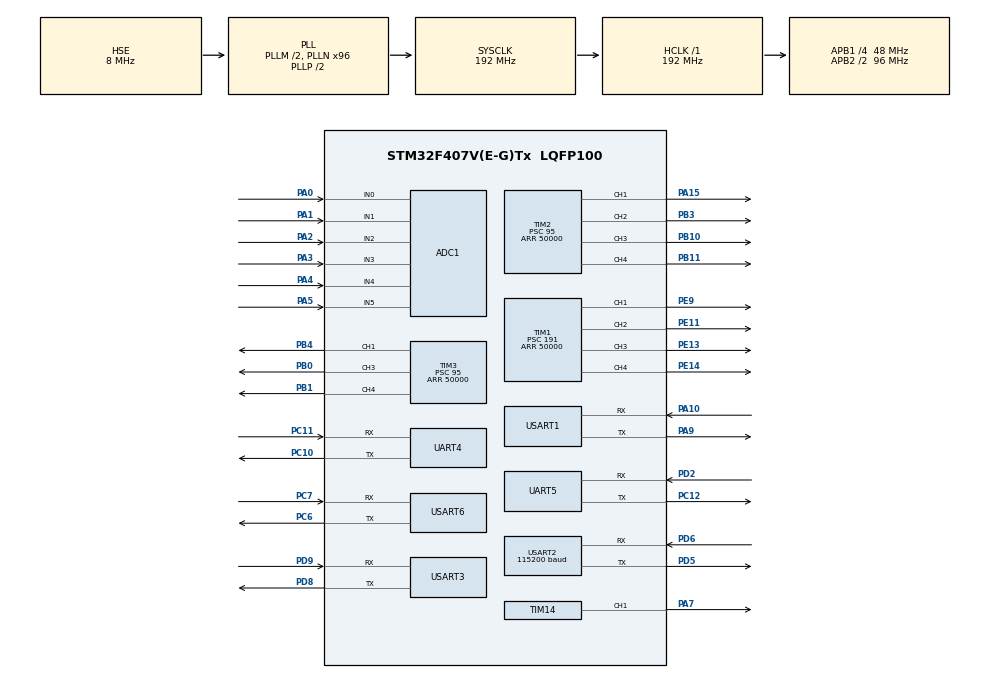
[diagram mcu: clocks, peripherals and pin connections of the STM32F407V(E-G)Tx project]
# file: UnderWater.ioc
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ADC1.Channel-0\#ChannelRegularConversion=ADC_CHANNEL_0
ADC1.Channel-1\#ChannelRegularConversion=ADC_CHANNEL_1
ADC1.Channel-2\#ChannelRegularConversion=ADC_CHANNEL_2
ADC1.Channel-3\#ChannelRegularConversion=ADC_CHANNEL_3
ADC1.Channel-4\#ChannelRegularConversion=ADC_CHANNEL_4
ADC1.Channel-5\#ChannelRegularConversion=ADC_CHANNEL_5
ADC1.ContinuousConvMode=ENABLE
ADC1.DMAContinuousRequests=ENABLE
ADC1.EOCSelection=ADC_EOC_SEQ_CONV
ADC1.NbrOfConversion=6
ADC1.NbrOfConversionFlag=1
ADC1.Rank-0\#ChannelRegularConversion=1
ADC1.Rank-1\#ChannelRegularConversion=2
ADC1.Rank-2\#ChannelRegularConversion=3
ADC1.Rank-3\#ChannelRegularConversion=4
ADC1.Rank-4\#ChannelRegularConversion=5
ADC1.Rank-5\#ChannelRegularConversion=6
ADC1.SamplingTime-0\#ChannelRegularConversion=ADC_SAMPLETIME_28CYCLES
ADC1.SamplingTime-1\#ChannelRegularConversion=ADC_SAMPLETIME_28CYCLES
ADC1.SamplingTime-2\#ChannelRegularConversion=ADC_SAMPLETIME_28CYCLES
ADC1.SamplingTime-3\#ChannelRegularConversion=ADC_SAMPLETIME_28CYCLES
ADC1.SamplingTime-4\#ChannelRegularConversion=ADC_SAMPLETIME_28CYCLES
ADC1.SamplingTime-5\#ChannelRegularConversion=ADC_SAMPLETIME_28CYCLES
ADC1.ScanConvMode=ENABLE
ADC1.master=1
Dma.ADC1.12.Direction=DMA_PERIPH_TO_MEMORY
Dma.ADC1.12.FIFOMode=DMA_FIFOMODE_DISABLE
Dma.ADC1.12.Instance=DMA2_Stream0
Dma.ADC1.12.MemDataAlignment=DMA_MDATAALIGN_WORD
Dma.ADC1.12.MemInc=DMA_MINC_ENABLE
Dma.ADC1.12.Mode=DMA_CIRCULAR
Dma.ADC1.12.PeriphDataAlignment=DMA_PDATAALIGN_WORD
Dma.ADC1.12.PeriphInc=DMA_PINC_DISABLE
Dma.ADC1.12.Priority=DMA_PRIORITY_LOW
Dma.Request0=UART4_RX
Dma.Request1=UART4_TX
Dma.Request10=USART6_RX
Dma.Request11=USART6_TX
Dma.Request12=ADC1
Dma.Request2=UART5_RX
Dma.Request3=UART5_TX
Dma.Request4=USART1_RX
Dma.Request5=USART1_TX
Dma.Request6=USART2_RX
Dma.Request7=USART2_TX
Dma.Request8=USART3_RX
Dma.Request9=USART3_TX
Dma.UART4_RX.0.Direction=DMA_PERIPH_TO_MEMORY
Dma.UART4_RX.0.FIFOMode=DMA_FIFOMODE_DISABLE
Dma.UART4_RX.0.Instance=DMA1_Stream2
Dma.UART4_RX.0.MemDataAlignment=DMA_MDATAALIGN_BYTE
Dma.UART4_RX.0.MemInc=DMA_MINC_ENABLE
Dma.UART4_RX.0.Mode=DMA_NORMAL
Dma.UART4_RX.0.PeriphDataAlignment=DMA_PDATAALIGN_BYTE
Dma.UART4_RX.0.PeriphInc=DMA_PINC_DISABLE
Dma.UART4_RX.0.Priority=DMA_PRIORITY_LOW
Dma.UART4_TX.1.Direction=DMA_MEMORY_TO_PERIPH
Dma.UART4_TX.1.FIFOMode=DMA_FIFOMODE_DISABLE
Dma.UART4_TX.1.Instance=DMA1_Stream4
Dma.UART4_TX.1.MemDataAlignment=DMA_MDATAALIGN_BYTE
Dma.UART4_TX.1.MemInc=DMA_MINC_ENABLE
Dma.UART4_TX.1.Mode=DMA_NORMAL
Dma.UART4_TX.1.PeriphDataAlignment=DMA_PDATAALIGN_BYTE
Dma.UART4_TX.1.PeriphInc=DMA_PINC_DISABLE
Dma.UART4_TX.1.Priority=DMA_PRIORITY_LOW
Dma.UART5_RX.2.Direction=DMA_PERIPH_TO_MEMORY
Dma.UART5_RX.2.FIFOMode=DMA_FIFOMODE_DISABLE
Dma.UART5_RX.2.Instance=DMA1_Stream0
Dma.UART5_RX.2.MemDataAlignment=DMA_MDATAALIGN_BYTE
Dma.UART5_RX.2.MemInc=DMA_MINC_ENABLE
Dma.UART5_RX.2.Mode=DMA_NORMAL
Dma.UART5_RX.2.PeriphDataAlignment=DMA_PDATAALIGN_BYTE
Dma.UART5_RX.2.PeriphInc=DMA_PINC_DISABLE
Dma.UART5_RX.2.Priority=DMA_PRIORITY_LOW
Dma.UART5_TX.3.Direction=DMA_MEMORY_TO_PERIPH
Dma.UART5_TX.3.FIFOMode=DMA_FIFOMODE_DISABLE
Dma.UART5_TX.3.Instance=DMA1_Stream7
Dma.UART5_TX.3.MemDataAlignment=DMA_MDATAALIGN_BYTE
Dma.UART5_TX.3.MemInc=DMA_MINC_ENABLE
Dma.UART5_TX.3.Mode=DMA_NORMAL
Dma.UART5_TX.3.PeriphDataAlignment=DMA_PDATAALIGN_BYTE
Dma.UART5_TX.3.PeriphInc=DMA_PINC_DISABLE
Dma.UART5_TX.3.Priority=DMA_PRIORITY_LOW
Dma.USART1_RX.4.Direction=DMA_PERIPH_TO_MEMORY
Dma.USART1_RX.4.FIFOMode=DMA_FIFOMODE_DISABLE
Dma.USART1_RX.4.Instance=DMA2_Stream2
Dma.USART1_RX.4.MemDataAlignment=DMA_MDATAALIGN_BYTE
Dma.USART1_RX.4.MemInc=DMA_MINC_ENABLE
Dma.USART1_RX.4.Mode=DMA_NORMAL
Dma.USART1_RX.4.PeriphDataAlignment=DMA_PDATAALIGN_BYTE
Dma.USART1_RX.4.PeriphInc=DMA_PINC_DISABLE
Dma.USART1_RX.4.Priority=DMA_PRIORITY_LOW
Dma.USART1_TX.5.Direction=DMA_MEMORY_TO_PERIPH
Dma.USART1_TX.5.FIFOMode=DMA_FIFOMODE_DISABLE
Dma.USART1_TX.5.Instance=DMA2_Stream7
Dma.USART1_TX.5.MemDataAlignment=DMA_MDATAALIGN_BYTE
Dma.USART1_TX.5.MemInc=DMA_MINC_ENABLE
Dma.USART1_TX.5.Mode=DMA_NORMAL
Dma.USART1_TX.5.PeriphDataAlignment=DMA_PDATAALIGN_BYTE
Dma.USART1_TX.5.PeriphInc=DMA_PINC_DISABLE
Dma.USART1_TX.5.Priority=DMA_PRIORITY_LOW
Dma.USART2_RX.6.Direction=DMA_PERIPH_TO_MEMORY
Dma.USART2_RX.6.FIFOMode=DMA_FIFOMODE_DISABLE
Dma.USART2_RX.6.Instance=DMA1_Stream5
Dma.USART2_RX.6.MemDataAlignment=DMA_MDATAALIGN_BYTE
Dma.USART2_RX.6.MemInc=DMA_MINC_ENABLE
Dma.USART2_RX.6.Mode=DMA_NORMAL
Dma.USART2_RX.6.PeriphDataAlignment=DMA_PDATAALIGN_BYTE
Dma.USART2_RX.6.PeriphInc=DMA_PINC_DISABLE
Dma.USART2_RX.6.Priority=DMA_PRIORITY_LOW
Dma.USART2_TX.7.Direction=DMA_MEMORY_TO_PERIPH
Dma.USART2_TX.7.FIFOMode=DMA_FIFOMODE_DISABLE
Dma.USART2_TX.7.Instance=DMA1_Stream6
Dma.USART2_TX.7.MemDataAlignment=DMA_MDATAALIGN_BYTE
Dma.USART2_TX.7.MemInc=DMA_MINC_ENABLE
Dma.USART2_TX.7.Mode=DMA_NORMAL
Dma.USART2_TX.7.PeriphDataAlignment=DMA_PDATAALIGN_BYTE
Dma.USART2_TX.7.PeriphInc=DMA_PINC_DISABLE
Dma.USART2_TX.7.Priority=DMA_PRIORITY_LOW
Dma.USART3_RX.8.Direction=DMA_PERIPH_TO_MEMORY
Dma.USART3_RX.8.FIFOMode=DMA_FIFOMODE_DISABLE
Dma.USART3_RX.8.Instance=DMA1_Stream1
Dma.USART3_RX.8.MemDataAlignment=DMA_MDATAALIGN_BYTE
Dma.USART3_RX.8.MemInc=DMA_MINC_ENABLE
Dma.USART3_RX.8.Mode=DMA_NORMAL
Dma.USART3_RX.8.PeriphDataAlignment=DMA_PDATAALIGN_BYTE
Dma.USART3_RX.8.PeriphInc=DMA_PINC_DISABLE
Dma.USART3_RX.8.Priority=DMA_PRIORITY_LOW
Dma.USART3_TX.9.Direction=DMA_MEMORY_TO_PERIPH
Dma.USART3_TX.9.FIFOMode=DMA_FIFOMODE_DISABLE
Dma.USART3_TX.9.Instance=DMA1_Stream3
Dma.USART3_TX.9.MemDataAlignment=DMA_MDATAALIGN_BYTE
Dma.USART3_TX.9.MemInc=DMA_MINC_ENABLE
Dma.USART3_TX.9.Mode=DMA_NORMAL
Dma.USART3_TX.9.PeriphDataAlignment=DMA_PDATAALIGN_BYTE
Dma.USART3_TX.9.PeriphInc=DMA_PINC_DISABLE
Dma.USART3_TX.9.Priority=DMA_PRIORITY_LOW
Dma.USART6_RX.10.Direction=DMA_PERIPH_TO_MEMORY
Dma.USART6_RX.10.FIFOMode=DMA_FIFOMODE_DISABLE
Dma.USART6_RX.10.Instance=DMA2_Stream1
Dma.USART6_RX.10.MemDataAlignment=DMA_MDATAALIGN_BYTE
Dma.USART6_RX.10.MemInc=DMA_MINC_ENABLE
Dma.USART6_RX.10.Mode=DMA_NORMAL
Dma.USART6_RX.10.PeriphDataAlignment=DMA_PDATAALIGN_BYTE
Dma.USART6_RX.10.PeriphInc=DMA_PINC_DISABLE
Dma.USART6_RX.10.Priority=DMA_PRIORITY_LOW
Dma.USART6_TX.11.Direction=DMA_MEMORY_TO_PERIPH
Dma.USART6_TX.11.FIFOMode=DMA_FIFOMODE_DISABLE
Dma.USART6_TX.11.Instance=DMA2_Stream6
Dma.USART6_TX.11.MemDataAlignment=DMA_MDATAALIGN_BYTE
Dma.USART6_TX.11.MemInc=DMA_MINC_ENABLE
Dma.USART6_TX.11.Mode=DMA_NORMAL
Dma.USART6_TX.11.PeriphDataAlignment=DMA_PDATAALIGN_BYTE
Dma.USART6_TX.11.PeriphInc=DMA_PINC_DISABLE
Dma.USART6_TX.11.Priority=DMA_PRIORITY_LOW
FREERTOS.Tasks01=ControlTask,2,128,CtrlTask,Default,NULL,Dynamic,NULL,NULL;DisplayTask,1,128,DisTask,Default,NULL,Dynamic,NULL,NULL;WaterDeepTask,0,128,WDTask,Default,NULL,Dynamic,NULL,NULL;AttitudeTask,0,128,AttTask,Default,NULL,Dynamic,NULL,NULL;EmptyTask,-3,128,EmpTask,Default,NULL,Dynamic,NULL,NULL;AutoMoveTask,0,128,AutoTask,Default,NULL,Dynamic,NULL,NULL;InitialTask,3,128,InitTask,Default,NULL,Dynamic,NULL,NULL;SwitcherTask,2,128,SWTask,Default,NULL,Dynamic,NULL,NULL
FREERTOS.configENABLE_FPU=1
FREERTOS.configLIBRARY_MAX_SYSCALL_INTERRUPT_PRIORITY=5
FREERTOS.configUSE_NEWLIB_REENTRANT=1
IWDG.Prescaler=IWDG_PRESCALER_32
IWDG.Reload=2047
Mcu.Family=STM32F4
Mcu.Name=STM32F407V(E-G)Tx
Mcu.Package=LQFP100
NVIC.DMA1_Stream0_IRQn=true\:5\:0\:false\:false\:true\:true\:false\:true
NVIC.DMA1_Stream1_IRQn=true\:5\:0\:false\:false\:true\:true\:false\:true
NVIC.DMA1_Stream2_IRQn=true\:5\:0\:false\:false\:true\:true\:false\:true
NVIC.DMA1_Stream3_IRQn=true\:5\:0\:false\:false\:true\:true\:false\:true
NVIC.DMA1_Stream4_IRQn=true\:5\:0\:false\:false\:true\:true\:false\:true
NVIC.DMA1_Stream5_IRQn=true\:5\:0\:false\:false\:true\:true\:false\:true
NVIC.DMA1_Stream6_IRQn=true\:5\:0\:false\:false\:true\:true\:false\:true
NVIC.DMA1_Stream7_IRQn=true\:5\:0\:false\:false\:true\:true\:false\:true
NVIC.DMA2_Stream0_IRQn=true\:5\:0\:false\:false\:true\:true\:false\:true
NVIC.DMA2_Stream1_IRQn=true\:5\:0\:false\:false\:true\:true\:false\:true
NVIC.DMA2_Stream2_IRQn=true\:5\:0\:false\:false\:true\:true\:false\:true
NVIC.DMA2_Stream6_IRQn=true\:5\:0\:false\:false\:true\:true\:false\:true
NVIC.DMA2_Stream7_IRQn=true\:5\:0\:false\:false\:true\:true\:false\:true
NVIC.PriorityGroup=NVIC_PRIORITYGROUP_4
NVIC.TIM1_UP_TIM10_IRQn=true\:0\:0\:false\:false\:true\:false\:false\:true
NVIC.TIM7_IRQn=true\:7\:0\:true\:false\:true\:true\:true\:true
NVIC.TimeBase=TIM1_UP_TIM10_IRQn
NVIC.TimeBaseIP=TIM10
NVIC.UART4_IRQn=true\:6\:0\:true\:false\:true\:true\:true\:true
NVIC.UART5_IRQn=true\:6\:0\:true\:false\:true\:true\:true\:true
NVIC.USART1_IRQn=true\:5\:0\:true\:false\:true\:true\:true\:true
NVIC.USART2_IRQn=true\:6\:0\:true\:false\:true\:true\:true\:true
NVIC.USART3_IRQn=true\:6\:0\:true\:false\:true\:true\:true\:true
NVIC.USART6_IRQn=true\:6\:0\:true\:false\:true\:true\:true\:true
PA0-WKUP.Signal=ADCx_IN0
PA1.Signal=ADCx_IN1
PA10.Mode=Asynchronous
PA10.Signal=USART1_RX
PA13.Mode=Serial_Wire
PA13.Signal=SYS_JTMS-SWDIO
PA14.Mode=Serial_Wire
PA14.Signal=SYS_JTCK-SWCLK
PA15.Signal=S_TIM2_CH1_ETR
PA2.Signal=ADCx_IN2
PA3.Signal=ADCx_IN3
PA4.Signal=ADCx_IN4
PA5.Signal=ADCx_IN5
PA7.Signal=S_TIM14_CH1
PA9.Mode=Asynchronous
PA9.Signal=USART1_TX
PB0.Signal=S_TIM3_CH3
PB1.Signal=S_TIM3_CH4
PB10.Signal=S_TIM2_CH3
PB11.Signal=S_TIM2_CH4
PB3.Signal=S_TIM2_CH2
PB4.Signal=S_TIM3_CH1
PC10.Mode=Asynchronous
PC10.Signal=UART4_TX
PC11.Mode=Asynchronous
PC11.Signal=UART4_RX
PC12.Mode=Asynchronous
PC12.Signal=UART5_TX
PC14-OSC32_IN.Mode=LSE-External-Oscillator
PC14-OSC32_IN.Signal=RCC_OSC32_IN
PC15-OSC32_OUT.Mode=LSE-External-Oscillator
PC15-OSC32_OUT.Signal=RCC_OSC32_OUT
PC6.Mode=Asynchronous
PC6.Signal=USART6_TX
PC7.Mode=Asynchronous
PC7.Signal=USART6_RX
PD2.Mode=Asynchronous
PD2.Signal=UART5_RX
PD5.Mode=Asynchronous
PD5.Signal=USART2_TX
PD6.Mode=Asynchronous
PD6.Signal=USART2_RX
PD8.Mode=Asynchronous
PD8.Signal=USART3_TX
PD9.Mode=Asynchronous
PD9.Signal=USART3_RX
PE11.Signal=S_TIM1_CH2
PE13.Signal=S_TIM1_CH3
PE14.Signal=S_TIM1_CH4
PE9.Signal=S_TIM1_CH1
PH0-OSC_IN.Mode=HSE-External-Oscillator
PH0-OSC_IN.Signal=RCC_OSC_IN
PH1-OSC_OUT.Mode=HSE-External-Oscillator
PH1-OSC_OUT.Signal=RCC_OSC_OUT
ProjectManager.HeapSize=0x200
ProjectManager.StackSize=0x400
ProjectManager.TargetToolchain=Other Toolchains (GPDSC)
RCC.48MHZClocksFreq_Value=96000000
RCC.AHBFreq_Value=192000000
RCC.APB1CLKDivider=RCC_HCLK_DIV4
RCC.APB1Freq_Value=48000000
RCC.APB1TimFreq_Value=96000000
RCC.APB2CLKDivider=RCC_HCLK_DIV2
RCC.APB2Freq_Value=96000000
RCC.APB2TimFreq_Value=192000000
RCC.CortexFreq_Value=192000000
RCC.HCLKFreq_Value=192000000
RCC.HSE_VALUE=8000000
RCC.HSI_VALUE=16000000
RCC.PLLM=2
RCC.PLLN=96
RCC.PLLSourceVirtual=RCC_PLLSOURCE_HSE
RCC.SYSCLKFreq_VALUE=192000000
RCC.SYSCLKSource=RCC_SYSCLKSOURCE_PLLCLK
RCC.VCOOutputFreq_Value=384000000
SH.ADCx_IN0.0=ADC1_IN0,IN0
SH.ADCx_IN1.0=ADC1_IN1,IN1
SH.ADCx_IN2.0=ADC1_IN2,IN2
SH.ADCx_IN3.0=ADC1_IN3,IN3
SH.ADCx_IN4.0=ADC1_IN4,IN4
SH.ADCx_IN5.0=ADC1_IN5,IN5
SH.S_TIM14_CH1.0=TIM14_CH1,PWM Generation1 CH1
SH.S_TIM1_CH1.0=TIM1_CH1,PWM Generation1 CH1
SH.S_TIM1_CH2.0=TIM1_CH2,PWM Generation2 CH2
SH.S_TIM1_CH3.0=TIM1_CH3,PWM Generation3 CH3
SH.S_TIM1_CH4.0=TIM1_CH4,PWM Generation4 CH4
SH.S_TIM2_CH1_ETR.0=TIM2_CH1,PWM Generation1 CH1
SH.S_TIM2_CH2.0=TIM2_CH2,PWM Generation2 CH2
SH.S_TIM2_CH3.0=TIM2_CH3,PWM Generation3 CH3
SH.S_TIM2_CH4.0=TIM2_CH4,PWM Generation4 CH4
SH.S_TIM3_CH1.0=TIM3_CH1,PWM Generation1 CH1
SH.S_TIM3_CH3.0=TIM3_CH3,PWM Generation3 CH3
SH.S_TIM3_CH4.0=TIM3_CH4,PWM Generation4 CH4
TIM1.Channel-PWM\ Generation1\ CH1=TIM_CHANNEL_1
TIM1.Channel-PWM\ Generation2\ CH2=TIM_CHANNEL_2
TIM1.Channel-PWM\ Generation3\ CH3=TIM_CHANNEL_3
TIM1.Channel-PWM\ Generation4\ CH4=TIM_CHANNEL_4
TIM1.Period=50000
TIM1.Prescaler=191
TIM1.Pulse-PWM\ Generation1\ CH1=1500
TIM1.Pulse-PWM\ Generation2\ CH2=1500
TIM1.Pulse-PWM\ Generation3\ CH3=1500
TIM1.Pulse-PWM\ Generation4\ CH4=1500
TIM14.Channel=TIM_CHANNEL_1
TIM14.Period=5000
TIM14.Prescaler=47
TIM2.Channel-PWM\ Generation1\ CH1=TIM_CHANNEL_1
TIM2.Channel-PWM\ Generation2\ CH2=TIM_CHANNEL_2
TIM2.Channel-PWM\ Generation3\ CH3=TIM_CHANNEL_3
TIM2.Channel-PWM\ Generation4\ CH4=TIM_CHANNEL_4
TIM2.Period=50000
TIM2.Prescaler=95
TIM2.Pulse-PWM\ Generation1\ CH1=1500
TIM2.Pulse-PWM\ Generation2\ CH2=1500
TIM2.Pulse-PWM\ Generation3\ CH3=1500
TIM2.Pulse-PWM\ Generation4\ CH4=1500
TIM3.Channel-PWM\ Generation1\ CH1=TIM_CHANNEL_1
TIM3.Channel-PWM\ Generation3\ CH3=TIM_CHANNEL_3
TIM3.Channel-PWM\ Generation4\ CH4=TIM_CHANNEL_4
TIM3.Period=50000
TIM3.Prescaler=95
TIM3.Pulse-PWM\ Generation1\ CH1=1500
TIM3.Pulse-PWM\ Generation3\ CH3=1500
TIM3.Pulse-PWM\ Generation4\ CH4=1500
TIM7.AutoReloadPreload=TIM_AUTORELOAD_PRELOAD_ENABLE
TIM7.Period=25000
TIM7.Prescaler=3839
UART4.VirtualMode=Asynchronous
UART5.VirtualMode=Asynchronous
USART1.VirtualMode=VM_ASYNC
USART2.BaudRate=115200
USART2.VirtualMode=VM_ASYNC
USART3.VirtualMode=VM_ASYNC
USART6.VirtualMode=VM_ASYNC
VP_FREERTOS_VS_CMSIS_V1.Mode=CMSIS_V1
VP_IWDG_VS_IWDG.Mode=IWDG_Activate
VP_SYS_VS_tim10.Mode=TIM10
VP_TIM14_VS_ClockSourceINT.Mode=Enable_Timer
VP_TIM1_VS_ClockSourceINT.Mode=Internal
VP_TIM2_VS_ClockSourceINT.Mode=Internal
VP_TIM3_VS_ClockSourceINT.Mode=Internal
VP_TIM7_VS_ClockSourceINT.Mode=Enable_Timer
board=custom

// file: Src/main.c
/* USER CODE BEGIN Header */
/* USER CODE END Header */

#include "main.h"
#include "cmsis_os.h"

/* USER CODE BEGIN Includes */
#include "Attitude.h"
#include "Setting.h"
#include "Auto.h"
#include "Display.h"
#include "BasicCtrl.h"
/* USER CODE END Includes */

/* USER CODE BEGIN PTD */
typedef unsigned char u8;
typedef unsigned short u16;
/* USER CODE END PTD */

ADC_HandleTypeDef hadc1;
DMA_HandleTypeDef hdma_adc1;

IWDG_HandleTypeDef hiwdg;

TIM_HandleTypeDef htim1;
TIM_HandleTypeDef htim2;
TIM_HandleTypeDef htim3;
TIM_HandleTypeDef htim7;
TIM_HandleTypeDef htim14;

UART_HandleTypeDef huart4;
UART_HandleTypeDef huart5;
UART_HandleTypeDef huart1;
UART_HandleTypeDef huart2;
UART_HandleTypeDef huart3;
UART_HandleTypeDef huart6;
DMA_HandleTypeDef hdma_uart4_rx;
DMA_HandleTypeDef hdma_uart4_tx;
DMA_HandleTypeDef hdma_uart5_rx;
DMA_HandleTypeDef hdma_uart5_tx;
DMA_HandleTypeDef hdma_usart1_rx;
DMA_HandleTypeDef hdma_usart1_tx;
DMA_HandleTypeDef hdma_usart2_rx;
DMA_HandleTypeDef hdma_usart2_tx;
DMA_HandleTypeDef hdma_usart3_rx;
DMA_HandleTypeDef hdma_usart3_tx;
DMA_HandleTypeDef hdma_usart6_rx;
DMA_HandleTypeDef hdma_usart6_tx;

osThreadId ControlTaskHandle;
osThreadId DisplayTaskHandle;
osThreadId WaterDeepTaskHandle;
osThreadId AttitudeTaskHandle;
osThreadId EmptyTaskHandle;
osThreadId AutoMoveTaskHandle;
osThreadId InitialTaskHandle;
osThreadId SwitcherTaskHandle;
/* USER CODE BEGIN PV */
//闁诡剚妲掔换妯肩矙鐎ｎ亝鍎欓柛鏂诲姀椤曨剙效閸屾稓鍨奸煫鍥ㄣ仦缂??
volatile u8 TaskBeingChangeFlag = 0;
//濞戞挾绮敮鑸垫交濞戞埃鏌ら柛姘煎灠婵晝鎷犻柨瀣勾闁哄秴娲ょ换鏃?鎷??
volatile u8 ControlTaskFlag = 0;
//闁哄嫬澧介妵姘交濞戞埃鏌ら柛姘煎灠婵晝鎷犻柨瀣勾闁哄秴娲ょ换鏃?鎷??
volatile u8 DisplayTaskFlag = 0;
//婵ê鐡ㄧ换浣肝??婵炴潙顑堢换妯肩矙鐎ｎ亝鍎欓柛鏂诲姀椤曨剙效閸屾稓鍨奸煫鍥ㄣ仦缂??
volatile u8 WaterDeepTaskFlag = 0;
//濞戞梹绻嗛柊杈╂嫚鐠囨彃绲块弶鈺傜〒閳诲ジ宕ラ姘楅悹鍥敱閻即寮介崶褏绠跺ù??
volatile u8 AttitudeTaskFlag = 0;
//闁煎浜滄慨鈺傛交閹邦剙袟閺夆晜绋撻埢濂稿触椤栨艾袟閻犲洭鏀遍惇浼村冀閸パ呯濞???
volatile u8 AutoMoveTaskFlag = 0;

//闁规亽鍔忕换姗?宕抽埉鎵篗闁告瑱绲介悾鐐▕?
volatile uint32_t* MoveCCR[8] = { &(TIM1->CCR1), &(TIM1->CCR2), &(TIM1->CCR3), &(TIM1->CCR4), &(TIM2->CCR1), &(TIM2->CCR2), &(TIM2->CCR3), &(TIM2->CCR4) };
//濞戞挻褰冭ぐ?1缂傚倹鎸搁悺?
u8 UART1RXCache[UART1RXLen];
//濞戞挻褰冭ぐ?3缂傚倹鎸搁悺?
u8 UART3RXCache[UART3RXLen];
//濞戞挻褰冭ぐ?4缂傚倹鎸搁悺?
u8 UART4RXCache[UART4RXLen];
//濞戞挻褰冭ぐ?4閻犲洩顕цぐ鍥箰閸ヮ剚瀚?
u8* UART4RXPosition = 0;
//缂侇垵宕电划娲触椤栨艾袟闁绘鍩??娴ｅ湱鍨奸煫鍥ㄣ仦缂??
volatile u8 SystemBegin = 0;

//婵☆垪鍓濈?氭瑥螞?婵炴潙顑囩槐锔????
uint32_t ADCCache[6] = { 0 };

//婵ê鐡ㄧ换渚?寮悧鍫濈ウ
u16 WaterDepth = 0;
//婵ê鐡ㄦ穱顖炲极閻楀牆绁?
u16 WaterTemperture = 0;
//婵ê鐡ㄧ换渚?骞愭径澶岀Т闁轰胶澧楀畵?
u8 WaterDepthNum[6];
//婵ê鐡ㄦ穱顖炲箰婢跺绉撮柡浣哄瀹??
u8 WaterTempertureNum[5];

//闁告梻濞??閻斿嘲顔婇柛妯煎枎椤劙寮悧鍫濈ウ
u16 AccNum[3] = { 0 };
//閻熸瑦甯??閻斿嘲顔婇柛妯煎枎椤劙寮悧鍫濈ウ
u16 RotNum[3] = { 0 };
//Roll Pitch Yaw
u16 EulNum[3] = { 0 };
//缁惧彞绀佹慨蹇曟喆閹烘垵鏂у┑顔碱儐閺嗙喖骞??
u16 MagNUM[3] = { 0 };
//濞戞梹绻嗛柊閬嶅级閹稿簼鍒婇幖杈剧畱鐢偅鎱ㄧ?ｎ偅娈堕柟??
u16 InsTemNum;

//婵炲柌鍕?欓悷娆愬笧缁劑寮稿鍕闁???
u16 EulResNum[3] = { 0 };

/* USER CODE END PV */

void SystemClock_Config(void);
static void MX_GPIO_Init(void);
static void MX_DMA_Init(void);
static void MX_ADC1_Init(void);
static void MX_IWDG_Init(void);
static void MX_TIM1_Init(void);
static void MX_TIM2_Init(void);
static void MX_TIM3_Init(void);
static void MX_UART4_Init(void);
static void MX_UART5_Init(void);
static void MX_USART1_UART_Init(void);
static void MX_USART2_UART_Init(void);
static void MX_USART3_UART_Init(void);
static void MX_USART6_UART_Init(void);
static void MX_TIM14_Init(void);
static void MX_TIM7_Init(void);
void CtrlTask(void const * argument);
void DisTask(void const * argument);
void WDTask(void const * argument);
void AttTask(void const * argument);
void EmpTask(void const * argument);
void AutoTask(void const * argument);
void InitTask(void const * argument);
void SWTask(void const * argument);

int main(void)
{

  /* MCU Configuration--------------------------------------------------------*/

  /* Reset of all peripherals, Initializes the Flash interface and the Systick. */
  HAL_Init();

  /* Configure the system clock */
  SystemClock_Config();

  /* Initialize all configured peripherals */
  MX_GPIO_Init();
  MX_DMA_Init();
  MX_ADC1_Init();
  MX_IWDG_Init();
  MX_TIM1_Init();
  MX_TIM2_Init();
  MX_TIM3_Init();
  MX_UART4_Init();
  MX_UART5_Init();
  MX_USART1_UART_Init();
  MX_USART2_UART_Init();
  MX_USART3_UART_Init();
  MX_USART6_UART_Init();
  MX_TIM14_Init();
  MX_TIM7_Init();
  /* USER CODE BEGIN 2 */

	BasicPoint(UART1RXCache);
	HAL_IWDG_Refresh(&hiwdg);

  /* USER CODE END 2 */

  /* Create the thread(s) */
  /* definition and creation of ControlTask */
  osThreadDef(ControlTask, CtrlTask, osPriorityHigh, 0, 128);
  ControlTaskHandle = osThreadCreate(osThread(ControlTask), NULL);

  /* definition and creation of DisplayTask */
  osThreadDef(DisplayTask, DisTask, osPriorityAboveNormal, 0, 128);
  DisplayTaskHandle = osThreadCreate(osThread(DisplayTask), NULL);

  /* definition and creation of WaterDeepTask */
  osThreadDef(WaterDeepTask, WDTask, osPriorityNormal, 0, 128);
  WaterDeepTaskHandle = osThreadCreate(osThread(WaterDeepTask), NULL);

  /* definition and creation of AttitudeTask */
  osThreadDef(AttitudeTask, AttTask, osPriorityNormal, 0, 128);
  AttitudeTaskHandle = osThreadCreate(osThread(AttitudeTask), NULL);

  /* definition and creation of EmptyTask */
  osThreadDef(EmptyTask, EmpTask, osPriorityIdle, 0, 128);
  EmptyTaskHandle = osThreadCreate(osThread(EmptyTask), NULL);

  /* definition and creation of AutoMoveTask */
  osThreadDef(AutoMoveTask, AutoTask, osPriorityNormal, 0, 128);
  AutoMoveTaskHandle = osThreadCreate(osThread(AutoMoveTask), NULL);

  /* definition and creation of InitialTask */
  osThreadDef(InitialTask, InitTask, osPriorityRealtime, 0, 128);
  InitialTaskHandle = osThreadCreate(osThread(InitialTask), NULL);

  /* definition and creation of SwitcherTask */
  osThreadDef(SwitcherTask, SWTask, osPriorityHigh, 0, 128);
  SwitcherTaskHandle = osThreadCreate(osThread(SwitcherTask), NULL);

  /* Start scheduler */
  osKernelStart();

  /* We should never get here as control is now taken by the scheduler */
  /* Infinite loop */

}

void SystemClock_Config(void)
{
  RCC_OscInitTypeDef RCC_OscInitStruct = {0};
  RCC_ClkInitTypeDef RCC_ClkInitStruct = {0};

  /** Configure the main internal regulator output voltage
  */
  __HAL_RCC_PWR_CLK_ENABLE();
  __HAL_PWR_VOLTAGESCALING_CONFIG(PWR_REGULATOR_VOLTAGE_SCALE1);
  /** Initializes the CPU, AHB and APB busses clocks
  */
  RCC_OscInitStruct.OscillatorType = RCC_OSCILLATORTYPE_LSI|RCC_OSCILLATORTYPE_HSE;
  RCC_OscInitStruct.HSEState = RCC_HSE_ON;
  RCC_OscInitStruct.LSIState = RCC_LSI_ON;
  RCC_OscInitStruct.PLL.PLLState = RCC_PLL_ON;
  RCC_OscInitStruct.PLL.PLLSource = RCC_PLLSOURCE_HSE;
  RCC_OscInitStruct.PLL.PLLM = 2;
  RCC_OscInitStruct.PLL.PLLN = 96;
  RCC_OscInitStruct.PLL.PLLP = RCC_PLLP_DIV2;
  RCC_OscInitStruct.PLL.PLLQ = 4;
  if (HAL_RCC_OscConfig(&RCC_OscInitStruct) != HAL_OK)
  {
    Error_Handler();
  }
  /** Initializes the CPU, AHB and APB busses clocks
  */
  RCC_ClkInitStruct.ClockType = RCC_CLOCKTYPE_HCLK|RCC_CLOCKTYPE_SYSCLK
                              |RCC_CLOCKTYPE_PCLK1|RCC_CLOCKTYPE_PCLK2;
  RCC_ClkInitStruct.SYSCLKSource = RCC_SYSCLKSOURCE_PLLCLK;
  RCC_ClkInitStruct.AHBCLKDivider = RCC_SYSCLK_DIV1;
  RCC_ClkInitStruct.APB1CLKDivider = RCC_HCLK_DIV4;
  RCC_ClkInitStruct.APB2CLKDivider = RCC_HCLK_DIV2;

  if (HAL_RCC_ClockConfig(&RCC_ClkInitStruct, FLASH_LATENCY_5) != HAL_OK)
  {
    Error_Handler();
  }
}

static void MX_ADC1_Init(void)
{

  ADC_ChannelConfTypeDef sConfig = {0};

  /** Configure the global features of the ADC (Clock, Resolution, Data Alignment and number of conversion)
  */
  hadc1.Instance = ADC1;
  hadc1.Init.ClockPrescaler = ADC_CLOCK_SYNC_PCLK_DIV4;
  hadc1.Init.Resolution = ADC_RESOLUTION_12B;
  hadc1.Init.ScanConvMode = ENABLE;
  hadc1.Init.ContinuousConvMode = ENABLE;
  hadc1.Init.DiscontinuousConvMode = DISABLE;
  hadc1.Init.ExternalTrigConvEdge = ADC_EXTERNALTRIGCONVEDGE_NONE;
  hadc1.Init.ExternalTrigConv = ADC_SOFTWARE_START;
  hadc1.Init.DataAlign = ADC_DATAALIGN_RIGHT;
  hadc1.Init.NbrOfConversion = 6;
  hadc1.Init.DMAContinuousRequests = ENABLE;
  hadc1.Init.EOCSelection = ADC_EOC_SEQ_CONV;
  if (HAL_ADC_Init(&hadc1) != HAL_OK)
  {
    Error_Handler();
  }
  /** Configure for the selected ADC regular channel its corresponding rank in the sequencer and its sample time.
  */
  sConfig.Channel = ADC_CHANNEL_0;
  sConfig.Rank = 1;
  sConfig.SamplingTime = ADC_SAMPLETIME_28CYCLES;
  if (HAL_ADC_ConfigChannel(&hadc1, &sConfig) != HAL_OK)
  {
    Error_Handler();
  }
  /** Configure for the selected ADC regular channel its corresponding rank in the sequencer and its sample time.
  */
  sConfig.Channel = ADC_CHANNEL_1;
  sConfig.Rank = 2;
  if (HAL_ADC_ConfigChannel(&hadc1, &sConfig) != HAL_OK)
  {
    Error_Handler();
  }
  /** Configure for the selected ADC regular channel its corresponding rank in the sequencer and its sample time.
  */
  sConfig.Channel = ADC_CHANNEL_2;
  sConfig.Rank = 3;
  if (HAL_ADC_ConfigChannel(&hadc1, &sConfig) != HAL_OK)
  {
    Error_Handler();
  }
  /** Configure for the selected ADC regular channel its corresponding rank in the sequencer and its sample time.
  */
  sConfig.Channel = ADC_CHANNEL_3;
  sConfig.Rank = 4;
  if (HAL_ADC_ConfigChannel(&hadc1, &sConfig) != HAL_OK)
  {
    Error_Handler();
  }
  /** Configure for the selected ADC regular channel its corresponding rank in the sequencer and its sample time.
  */
  sConfig.Channel = ADC_CHANNEL_4;
  sConfig.Rank = 5;
  if (HAL_ADC_ConfigChannel(&hadc1, &sConfig) != HAL_OK)
  {
    Error_Handler();
  }
  /** Configure for the selected ADC regular channel its corresponding rank in the sequencer and its sample time.
  */
  sConfig.Channel = ADC_CHANNEL_5;
  sConfig.Rank = 6;
  if (HAL_ADC_ConfigChannel(&hadc1, &sConfig) != HAL_OK)
  {
    Error_Handler();
  }

}

static void MX_IWDG_Init(void)
{

  hiwdg.Instance = IWDG;
  hiwdg.Init.Prescaler = IWDG_PRESCALER_32;
  hiwdg.Init.Reload = 2047;
  if (HAL_IWDG_Init(&hiwdg) != HAL_OK)
  {
    Error_Handler();
  }

}

static void MX_TIM1_Init(void)
{

  TIM_ClockConfigTypeDef sClockSourceConfig = {0};
  TIM_MasterConfigTypeDef sMasterConfig = {0};
  TIM_OC_InitTypeDef sConfigOC = {0};
  TIM_BreakDeadTimeConfigTypeDef sBreakDeadTimeConfig = {0};

  htim1.Instance = TIM1;
  htim1.Init.Prescaler = 191;
  htim1.Init.CounterMode = TIM_COUNTERMODE_UP;
  htim1.Init.Period = 50000;
  htim1.Init.ClockDivision = TIM_CLOCKDIVISION_DIV1;
  htim1.Init.RepetitionCounter = 0;
  htim1.Init.AutoReloadPreload = TIM_AUTORELOAD_PRELOAD_DISABLE;
  if (HAL_TIM_Base_Init(&htim1) != HAL_OK)
  {
    Error_Handler();
  }
  sClockSourceConfig.ClockSource = TIM_CLOCKSOURCE_INTERNAL;
  if (HAL_TIM_ConfigClockSource(&htim1, &sClockSourceConfig) != HAL_OK)
  {
    Error_Handler();
  }
  if (HAL_TIM_PWM_Init(&htim1) != HAL_OK)
  {
    Error_Handler();
  }
  sMasterConfig.MasterOutputTrigger = TIM_TRGO_RESET;
  sMasterConfig.MasterSlaveMode = TIM_MASTERSLAVEMODE_DISABLE;
  if (HAL_TIMEx_MasterConfigSynchronization(&htim1, &sMasterConfig) != HAL_OK)
  {
    Error_Handler();
  }
  sConfigOC.OCMode = TIM_OCMODE_PWM1;
  sConfigOC.Pulse = 1500;
  sConfigOC.OCPolarity = TIM_OCPOLARITY_HIGH;
  sConfigOC.OCNPolarity = TIM_OCNPOLARITY_HIGH;
  sConfigOC.OCFastMode = TIM_OCFAST_DISABLE;
  sConfigOC.OCIdleState = TIM_OCIDLESTATE_RESET;
  sConfigOC.OCNIdleState = TIM_OCNIDLESTATE_RESET;
  if (HAL_TIM_PWM_ConfigChannel(&htim1, &sConfigOC, TIM_CHANNEL_1) != HAL_OK)
  {
    Error_Handler();
  }
  if (HAL_TIM_PWM_ConfigChannel(&htim1, &sConfigOC, TIM_CHANNEL_2) != HAL_OK)
  {
    Error_Handler();
  }
  if (HAL_TIM_PWM_ConfigChannel(&htim1, &sConfigOC, TIM_CHANNEL_3) != HAL_OK)
  {
    Error_Handler();
  }
  if (HAL_TIM_PWM_ConfigChannel(&htim1, &sConfigOC, TIM_CHANNEL_4) != HAL_OK)
  {
    Error_Handler();
  }
  sBreakDeadTimeConfig.OffStateRunMode = TIM_OSSR_DISABLE;
  sBreakDeadTimeConfig.OffStateIDLEMode = TIM_OSSI_DISABLE;
  sBreakDeadTimeConfig.LockLevel = TIM_LOCKLEVEL_OFF;
  sBreakDeadTimeConfig.DeadTime = 0;
  sBreakDeadTimeConfig.BreakState = TIM_BREAK_DISABLE;
  sBreakDeadTimeConfig.BreakPolarity = TIM_BREAKPOLARITY_HIGH;
  sBreakDeadTimeConfig.AutomaticOutput = TIM_AUTOMATICOUTPUT_DISABLE;
  if (HAL_TIMEx_ConfigBreakDeadTime(&htim1, &sBreakDeadTimeConfig) != HAL_OK)
  {
    Error_Handler();
  }
  HAL_TIM_MspPostInit(&htim1);

}

static void MX_TIM2_Init(void)
{

  TIM_ClockConfigTypeDef sClockSourceConfig = {0};
  TIM_MasterConfigTypeDef sMasterConfig = {0};
  TIM_OC_InitTypeDef sConfigOC = {0};

  htim2.Instance = TIM2;
  htim2.Init.Prescaler = 95;
  htim2.Init.CounterMode = TIM_COUNTERMODE_UP;
  htim2.Init.Period = 50000;
  htim2.Init.ClockDivision = TIM_CLOCKDIVISION_DIV1;
  htim2.Init.AutoReloadPreload = TIM_AUTORELOAD_PRELOAD_DISABLE;
  if (HAL_TIM_Base_Init(&htim2) != HAL_OK)
  {
    Error_Handler();
  }
  sClockSourceConfig.ClockSource = TIM_CLOCKSOURCE_INTERNAL;
  if (HAL_TIM_ConfigClockSource(&htim2, &sClockSourceConfig) != HAL_OK)
  {
    Error_Handler();
  }
  if (HAL_TIM_PWM_Init(&htim2) != HAL_OK)
  {
    Error_Handler();
  }
  sMasterConfig.MasterOutputTrigger = TIM_TRGO_RESET;
  sMasterConfig.MasterSlaveMode = TIM_MASTERSLAVEMODE_DISABLE;
  if (HAL_TIMEx_MasterConfigSynchronization(&htim2, &sMasterConfig) != HAL_OK)
  {
    Error_Handler();
  }
  sConfigOC.OCMode = TIM_OCMODE_PWM1;
  sConfigOC.Pulse = 1500;
  sConfigOC.OCPolarity = TIM_OCPOLARITY_HIGH;
  sConfigOC.OCFastMode = TIM_OCFAST_DISABLE;
  if (HAL_TIM_PWM_ConfigChannel(&htim2, &sConfigOC, TIM_CHANNEL_1) != HAL_OK)
  {
    Error_Handler();
  }
  if (HAL_TIM_PWM_ConfigChannel(&htim2, &sConfigOC, TIM_CHANNEL_2) != HAL_OK)
  {
    Error_Handler();
  }
  if (HAL_TIM_PWM_ConfigChannel(&htim2, &sConfigOC, TIM_CHANNEL_3) != HAL_OK)
  {
    Error_Handler();
  }
  if (HAL_TIM_PWM_ConfigChannel(&htim2, &sConfigOC, TIM_CHANNEL_4) != HAL_OK)
  {
    Error_Handler();
  }
  HAL_TIM_MspPostInit(&htim2);

}

static void MX_TIM3_Init(void)
{

  TIM_ClockConfigTypeDef sClockSourceConfig = {0};
  TIM_MasterConfigTypeDef sMasterConfig = {0};
  TIM_OC_InitTypeDef sConfigOC = {0};

  htim3.Instance = TIM3;
  htim3.Init.Prescaler = 95;
  htim3.Init.CounterMode = TIM_COUNTERMODE_UP;
  htim3.Init.Period = 50000;
  htim3.Init.ClockDivision = TIM_CLOCKDIVISION_DIV1;
  htim3.Init.AutoReloadPreload = TIM_AUTORELOAD_PRELOAD_DISABLE;
  if (HAL_TIM_Base_Init(&htim3) != HAL_OK)
  {
    Error_Handler();
  }
  sClockSourceConfig.ClockSource = TIM_CLOCKSOURCE_INTERNAL;
  if (HAL_TIM_ConfigClockSource(&htim3, &sClockSourceConfig) != HAL_OK)
  {
    Error_Handler();
  }
  if (HAL_TIM_PWM_Init(&htim3) != HAL_OK)
  {
    Error_Handler();
  }
  sMasterConfig.MasterOutputTrigger = TIM_TRGO_RESET;
  sMasterConfig.MasterSlaveMode = TIM_MASTERSLAVEMODE_DISABLE;
  if (HAL_TIMEx_MasterConfigSynchronization(&htim3, &sMasterConfig) != HAL_OK)
  {
    Error_Handler();
  }
  sConfigOC.OCMode = TIM_OCMODE_PWM1;
  sConfigOC.Pulse = 1500;
  sConfigOC.OCPolarity = TIM_OCPOLARITY_HIGH;
  sConfigOC.OCFastMode = TIM_OCFAST_DISABLE;
  if (HAL_TIM_PWM_ConfigChannel(&htim3, &sConfigOC, TIM_CHANNEL_1) != HAL_OK)
  {
    Error_Handler();
  }
  if (HAL_TIM_PWM_ConfigChannel(&htim3, &sConfigOC, TIM_CHANNEL_3) != HAL_OK)
  {
    Error_Handler();
  }
  if (HAL_TIM_PWM_ConfigChannel(&htim3, &sConfigOC, TIM_CHANNEL_4) != HAL_OK)
  {
    Error_Handler();
  }
  HAL_TIM_MspPostInit(&htim3);

}

static void MX_TIM7_Init(void)
{

  TIM_MasterConfigTypeDef sMasterConfig = {0};

  htim7.Instance = TIM7;
  htim7.Init.Prescaler = 3839;
  htim7.Init.CounterMode = TIM_COUNTERMODE_UP;
  htim7.Init.Period = 25000;
  htim7.Init.AutoReloadPreload = TIM_AUTORELOAD_PRELOAD_ENABLE;
  if (HAL_TIM_Base_Init(&htim7) != HAL_OK)
  {
    Error_Handler();
  }
  sMasterConfig.MasterOutputTrigger = TIM_TRGO_RESET;
  sMasterConfig.MasterSlaveMode = TIM_MASTERSLAVEMODE_DISABLE;
  if (HAL_TIMEx_MasterConfigSynchronization(&htim7, &sMasterConfig) != HAL_OK)
  {
    Error_Handler();
  }

}

static void MX_TIM14_Init(void)
{

  TIM_OC_InitTypeDef sConfigOC = {0};

  htim14.Instance = TIM14;
  htim14.Init.Prescaler = 47;
  htim14.Init.CounterMode = TIM_COUNTERMODE_UP;
  htim14.Init.Period = 5000;
  htim14.Init.ClockDivision = TIM_CLOCKDIVISION_DIV1;
  htim14.Init.AutoReloadPreload = TIM_AUTORELOAD_PRELOAD_DISABLE;
  if (HAL_TIM_Base_Init(&htim14) != HAL_OK)
  {
    Error_Handler();
  }
  if (HAL_TIM_PWM_Init(&htim14) != HAL_OK)
  {
    Error_Handler();
  }
  sConfigOC.OCMode = TIM_OCMODE_PWM1;
  sConfigOC.Pulse = 0;
  sConfigOC.OCPolarity = TIM_OCPOLARITY_HIGH;
  sConfigOC.OCFastMode = TIM_OCFAST_DISABLE;
  if (HAL_TIM_PWM_ConfigChannel(&htim14, &sConfigOC, TIM_CHANNEL_1) != HAL_OK)
  {
    Error_Handler();
  }
  HAL_TIM_MspPostInit(&htim14);

}

static void MX_UART4_Init(void)
{

  huart4.Instance = UART4;
  huart4.Init.BaudRate = 115200;
  huart4.Init.WordLength = UART_WORDLENGTH_8B;
  huart4.Init.StopBits = UART_STOPBITS_1;
  huart4.Init.Parity = UART_PARITY_NONE;
  huart4.Init.Mode = UART_MODE_TX_RX;
  huart4.Init.HwFlowCtl = UART_HWCONTROL_NONE;
  huart4.Init.OverSampling = UART_OVERSAMPLING_16;
  if (HAL_UART_Init(&huart4) != HAL_OK)
  {
    Error_Handler();
  }

}

static void MX_UART5_Init(void)
{

  huart5.Instance = UART5;
  huart5.Init.BaudRate = 115200;
  huart5.Init.WordLength = UART_WORDLENGTH_8B;
  huart5.Init.StopBits = UART_STOPBITS_1;
  huart5.Init.Parity = UART_PARITY_NONE;
  huart5.Init.Mode = UART_MODE_TX_RX;
  huart5.Init.HwFlowCtl = UART_HWCONTROL_NONE;
  huart5.Init.OverSampling = UART_OVERSAMPLING_16;
  if (HAL_UART_Init(&huart5) != HAL_OK)
  {
    Error_Handler();
  }

}

static void MX_USART1_UART_Init(void)
{

  huart1.Instance = USART1;
  huart1.Init.BaudRate = 115200;
  huart1.Init.WordLength = UART_WORDLENGTH_8B;
  huart1.Init.StopBits = UART_STOPBITS_1;
  huart1.Init.Parity = UART_PARITY_NONE;
  huart1.Init.Mode = UART_MODE_TX_RX;
  huart1.Init.HwFlowCtl = UART_HWCONTROL_NONE;
  huart1.Init.OverSampling = UART_OVERSAMPLING_16;
  if (HAL_UART_Init(&huart1) != HAL_OK)
  {
    Error_Handler();
  }

}

static void MX_USART2_UART_Init(void)
{

  huart2.Instance = USART2;
  huart2.Init.BaudRate = 115200;
  huart2.Init.WordLength = UART_WORDLENGTH_8B;
  huart2.Init.StopBits = UART_STOPBITS_1;
  huart2.Init.Parity = UART_PARITY_NONE;
  huart2.Init.Mode = UART_MODE_TX_RX;
  huart2.Init.HwFlowCtl = UART_HWCONTROL_NONE;
  huart2.Init.OverSampling = UART_OVERSAMPLING_16;
  if (HAL_UART_Init(&huart2) != HAL_OK)
  {
    Error_Handler();
  }

}

static void MX_USART3_UART_Init(void)
{

  huart3.Instance = USART3;
  huart3.Init.BaudRate = 115200;
  huart3.Init.WordLength = UART_WORDLENGTH_8B;
  huart3.Init.StopBits = UART_STOPBITS_1;
  huart3.Init.Parity = UART_PARITY_NONE;
  huart3.Init.Mode = UART_MODE_TX_RX;
  huart3.Init.HwFlowCtl = UART_HWCONTROL_NONE;
  huart3.Init.OverSampling = UART_OVERSAMPLING_16;
  if (HAL_UART_Init(&huart3) != HAL_OK)
  {
    Error_Handler();
  }

}

static void MX_USART6_UART_Init(void)
{

  huart6.Instance = USART6;
  huart6.Init.BaudRate = 115200;
  huart6.Init.WordLength = UART_WORDLENGTH_8B;
  huart6.Init.StopBits = UART_STOPBITS_1;
  huart6.Init.Parity = UART_PARITY_NONE;
  huart6.Init.Mode = UART_MODE_TX_RX;
  huart6.Init.HwFlowCtl = UART_HWCONTROL_NONE;
  huart6.Init.OverSampling = UART_OVERSAMPLING_16;
  if (HAL_UART_Init(&huart6) != HAL_OK)
  {
    Error_Handler();
  }

}

static void MX_DMA_Init(void)
{

  /* DMA controller clock enable */
  __HAL_RCC_DMA1_CLK_ENABLE();
  __HAL_RCC_DMA2_CLK_ENABLE();

  /* DMA interrupt init */
  /* DMA1_Stream0_IRQn interrupt configuration */
  HAL_NVIC_SetPriority(DMA1_Stream0_IRQn, 5, 0);
  HAL_NVIC_EnableIRQ(DMA1_Stream0_IRQn);
  /* DMA1_Stream1_IRQn interrupt configuration */
  HAL_NVIC_SetPriority(DMA1_Stream1_IRQn, 5, 0);
  HAL_NVIC_EnableIRQ(DMA1_Stream1_IRQn);
  /* DMA1_Stream2_IRQn interrupt configuration */
  HAL_NVIC_SetPriority(DMA1_Stream2_IRQn, 5, 0);
  HAL_NVIC_EnableIRQ(DMA1_Stream2_IRQn);
  /* DMA1_Stream3_IRQn interrupt configuration */
  HAL_NVIC_SetPriority(DMA1_Stream3_IRQn, 5, 0);
  HAL_NVIC_EnableIRQ(DMA1_Stream3_IRQn);
  /* DMA1_Stream4_IRQn interrupt configuration */
  HAL_NVIC_SetPriority(DMA1_Stream4_IRQn, 5, 0);
  HAL_NVIC_EnableIRQ(DMA1_Stream4_IRQn);
  /* DMA1_Stream5_IRQn interrupt configuration */
  HAL_NVIC_SetPriority(DMA1_Stream5_IRQn, 5, 0);
  HAL_NVIC_EnableIRQ(DMA1_Stream5_IRQn);
  /* DMA1_Stream6_IRQn interrupt configuration */
  HAL_NVIC_SetPriority(DMA1_Stream6_IRQn, 5, 0);
  HAL_NVIC_EnableIRQ(DMA1_Stream6_IRQn);
  /* DMA1_Stream7_IRQn interrupt configuration */
  HAL_NVIC_SetPriority(DMA1_Stream7_IRQn, 5, 0);
  HAL_NVIC_EnableIRQ(DMA1_Stream7_IRQn);
  /* DMA2_Stream0_IRQn interrupt configuration */
  HAL_NVIC_SetPriority(DMA2_Stream0_IRQn, 5, 0);
  HAL_NVIC_EnableIRQ(DMA2_Stream0_IRQn);
  /* DMA2_Stream1_IRQn interrupt configuration */
  HAL_NVIC_SetPriority(DMA2_Stream1_IRQn, 5, 0);
  HAL_NVIC_EnableIRQ(DMA2_Stream1_IRQn);
  /* DMA2_Stream2_IRQn interrupt configuration */
  HAL_NVIC_SetPriority(DMA2_Stream2_IRQn, 5, 0);
  HAL_NVIC_EnableIRQ(DMA2_Stream2_IRQn);
  /* DMA2_Stream6_IRQn interrupt configuration */
  HAL_NVIC_SetPriority(DMA2_Stream6_IRQn, 5, 0);
  HAL_NVIC_EnableIRQ(DMA2_Stream6_IRQn);
  /* DMA2_Stream7_IRQn interrupt configuration */
  HAL_NVIC_SetPriority(DMA2_Stream7_IRQn, 5, 0);
  HAL_NVIC_EnableIRQ(DMA2_Stream7_IRQn);

}

static void MX_GPIO_Init(void)
{

  /* GPIO Ports Clock Enable */
  __HAL_RCC_GPIOC_CLK_ENABLE();
  __HAL_RCC_GPIOH_CLK_ENABLE();
  __HAL_RCC_GPIOA_CLK_ENABLE();
  __HAL_RCC_GPIOB_CLK_ENABLE();
  __HAL_RCC_GPIOE_CLK_ENABLE();
  __HAL_RCC_GPIOD_CLK_ENABLE();

}

void CtrlTask(void const * argument)
{
  /* USER CODE BEGIN 5 */
  /* Infinite loop */
  for(;;)
  {
	  u8 WarnNum = 0;
	  u8 PowerNum = ADCCache[0] / 4096 * 3.3 * 50;
	  HAL_IWDG_Refresh(&hiwdg);
	  BasicControl(MoveCCR, &TIM3->CCR1, &TIM3->CCR3, &TIM3->CCR4, &TIM14->CCR1);

#ifdef SWPassback
	  if (ADCCache[1] > 3100)
	  {
		  WarnNum += 1;
	  }
	  if (ADCCache[2] > 3100)
	  {
		  WarnNum += 2;
	  }
	  PassBack(&huart1, PowerNum, WarnNum, AccNum, RotNum, EulNum, MagNUM, InsTemNum, WaterTemperture, WaterDepth);
#endif // SWPassback

	  __HAL_UART_ENABLE_IT(&huart1, UART_IT_IDLE);
	  HAL_UART_Receive_DMA(&huart1, UART1RXCache, UART1RXLen);

	  vTaskSuspend(ControlTaskHandle);
    osDelay(5);
  }
  /* USER CODE END 5 */
}

void DisTask(void const * argument)
{
  /* USER CODE BEGIN DisTask */
	static u8 PowerNum=0;
  /* Infinite loop */
  for(;;)
  {
#ifdef HardWare_QL800

#ifdef SWPowerScanner
	  PowerNum = ADCCache[0] / 4096 * 3.3 * 50;
	  DisPower(&huart4, PowerNum);
	  if (ADCCache[1] > 3100)
	  {
		  DisWarning(&huart2, 0);
		  osDelay(5);
	  }
	  else
	  {
		  DisWarning(&huart2, 3);
		  osDelay(5);
	  }
	  HAL_IWDG_Refresh(&hiwdg);
	  if (ADCCache[2] > 3100)
	  {
		  DisWarning(&huart2, 1);
		  osDelay(5);
	  }
	  else
	  {
		  DisWarning(&huart2, 4);
		  osDelay(5);
	  }
	  HAL_IWDG_Refresh(&hiwdg);
#endif // SWPowerScanner

#ifdef SWWaterDeep
	  DisWaterDeep(&huart2, WaterDepthNum, WaterTempertureNum);
	  osDelay(5);
	  HAL_IWDG_Refresh(&hiwdg);
#endif // SWWaterDeep

#ifdef SWAttitudeSensor
	  DisAttitude(&huart2, EulResNum[0], EulResNum[1], EulResNum[2], InsTemNum);
	  osDelay(5);
	  HAL_IWDG_Refresh(&hiwdg);
#endif // SWAttitudeSensor

#endif // HardWare_QL800

#ifdef HardWare_QL504
#ifdef SWPowerScanner
	  PowerNum = ADCCache[0] * 0.040283203125;
	  static u8 WarningState[2] = { 0, 0 };
	  if (ADCCache[1] > 2500)
	  {
		  if (WarningState[0] == 0)
		  {
			  DisWarning_QL504(&huart2, hiwdg, 0);
			  WarningState[0] = 1;
		  }
	  }
	  else
	  {
		  if (WarningState[0] == 1)
		  {
			  DisWarning_QL504(&huart2, hiwdg, 3);
			  WarningState[0] = 0;
		  }
	  }
	  HAL_IWDG_Refresh(&hiwdg);
	  if (ADCCache[2] > 2500)
	  {
		  if (WarningState[1] == 0)
		  {
			  DisWarning_QL504(&huart2, hiwdg, 1);
			  WarningState[1] = 1;
		  }
	  }
	  else
	  {
		  if (WarningState[1]==1)
		  {
			  DisWarning_QL504(&huart2, hiwdg, 4);
			  WarningState[1] = 0;
		  }

	  }
	  HAL_IWDG_Refresh(&hiwdg);
#endif // SWPowerScanner

	  DisData_QL504(&huart2, hiwdg, WaterDepthNum, WaterTempertureNum, EulResNum[2], EulResNum[0], PowerNum);

#endif // HardWare_QL504

	  HAL_IWDG_Refresh(&hiwdg);
    osDelay(1);
  }
  /* USER CODE END DisTask */
}

void WDTask(void const * argument)
{
  /* USER CODE BEGIN WDTask */
  /* Infinite loop */
  for(;;)
  {
	  DeepAnalyze(UART4RXPosition, &WaterDepth, &WaterTemperture, WaterDepthNum, WaterTempertureNum);
	  HAL_UART_Receive_DMA(&huart4, UART4RXCache, UART4RXLen);
	  __HAL_UART_ENABLE_IT(&huart4, UART_IT_IDLE);
	  HAL_IWDG_Refresh(&hiwdg);
	  vTaskSuspend(WaterDeepTaskHandle);
    osDelay(1);
  }
  /* USER CODE END WDTask */
}

void AttTask(void const * argument)
{
  /* USER CODE BEGIN AttTask */
  /* Infinite loop */
  for(;;)
  {
	  AttitudeTake(EulResNum, AccNum, RotNum, EulNum, MagNUM, &InsTemNum);
	  HAL_UART_Receive_DMA(&huart3, UART3RXCache, UART3RXLen);
	  __HAL_UART_ENABLE_IT(&huart3, UART_IT_IDLE);

	  HAL_IWDG_Refresh(&hiwdg);
	  vTaskSuspend(AttitudeTaskHandle);
    osDelay(2);
  }
  /* USER CODE END AttTask */
}

void EmpTask(void const * argument)
{
  /* USER CODE BEGIN EmpTask */

  /* Infinite loop */
  for(;;)
  {
	  HAL_IWDG_Refresh(&hiwdg);
  }
  /* USER CODE END EmpTask */
}

void AutoTask(void const * argument)
{
  /* USER CODE BEGIN AutoTask */
  /* Infinite loop */
  for(;;)
  {
	  HAL_IWDG_Refresh(&hiwdg);
    osDelay(1);
  }
  /* USER CODE END AutoTask */
}

void InitTask(void const * argument)
{
  /* USER CODE BEGIN InitTask */
	vTaskSuspend(ControlTaskHandle);
	vTaskSuspend(AttitudeTaskHandle);
	vTaskSuspend(WaterDeepTaskHandle);
	vTaskSuspend(DisplayTaskHandle);
	vTaskSuspend(AutoMoveTaskHandle);
	HAL_UART_Receive_DMA(&huart1, UART1RXCache, UART1RXLen);
	__HAL_UART_ENABLE_IT(&huart1, UART_IT_IDLE);
	HAL_TIM_PWM_Start(&htim3, TIM_CHANNEL_3);
	HAL_TIM_PWM_Start(&htim14, TIM_CHANNEL_1);
	HAL_TIM_PWM_Start(&htim1, TIM_CHANNEL_1);
	HAL_TIM_PWM_Start(&htim1, TIM_CHANNEL_2);
	HAL_TIM_PWM_Start(&htim1, TIM_CHANNEL_3);
	HAL_TIM_PWM_Start(&htim1, TIM_CHANNEL_4);
	HAL_TIM_PWM_Start(&htim2, TIM_CHANNEL_1);
	HAL_TIM_PWM_Start(&htim2, TIM_CHANNEL_2);
	HAL_TIM_PWM_Start(&htim2, TIM_CHANNEL_3);
	HAL_TIM_PWM_Start(&htim2, TIM_CHANNEL_4);
	HAL_TIM_PWM_Start(&htim3, TIM_CHANNEL_1);
	HAL_TIM_PWM_Start(&htim3, TIM_CHANNEL_4);

	TIM1->CCR1 = 1500;
	TIM1->CCR2 = 1500;
	TIM1->CCR3 = 1500;
	TIM1->CCR4 = 1500;
	TIM2->CCR1 = 1500;
	TIM2->CCR2 = 1500;
	TIM2->CCR3 = 1500;
	TIM2->CCR4 = 1500;
	TIM3->CCR1 = 1500;
	TIM3->CCR3 = 1500;
	TIM3->CCR4 = 1500;
	TIM14->CCR1 = 0;
	HAL_TIM_Base_Start_IT(&htim7);
#ifdef Debug_Mode
	SystemBegin = 1;
#endif // SWDebug

	while (!SystemBegin)
	{
		HAL_IWDG_Refresh(&hiwdg);
	}

#ifdef SWDisplayWords
	vTaskResume(DisplayTaskHandle);
#endif // SWDisplayWords

#ifdef SWAutoMove
	vTaskResume(AutoMoveTaskHandle);
#endif // SWAutoMove

#ifdef SWPowerScanner

	HAL_ADC_Start_DMA(&hadc1, ADCCache, 6);

#endif // SWPowerScanner

#ifdef SWWaterDeep
	HAL_UART_Receive_DMA(&huart4, UART4RXCache, UART4RXLen);
	__HAL_UART_ENABLE_IT(&huart4, UART_IT_IDLE);
#endif // SWWaterDeep

#ifdef SWAttitudeSensor
	AttitudePoint(UART3RXCache);
	HAL_UART_Receive_DMA(&huart3, UART3RXCache, UART3RXLen);
	__HAL_UART_ENABLE_IT(&huart3, UART_IT_IDLE);
#endif // SWAttitudeSensor

	HAL_IWDG_Refresh(&hiwdg);
	vTaskSuspend(InitialTaskHandle);
  /* Infinite loop */
  for(;;)
  {
    osDelay(10000);
  }
  /* USER CODE END InitTask */
}

void SWTask(void const * argument)
{
  /* USER CODE BEGIN SWTask */
  /* Infinite loop */
  for(;;)
  {
	  HAL_IWDG_Refresh(&hiwdg);
	  if (TaskBeingChangeFlag)
	  {
		  TaskBeingChangeFlag = 0;

		  if (ControlTaskFlag)
		  {
			  ControlTaskFlag = 0;
			  vTaskResume(ControlTaskHandle);
			  osDelay(2);
		  }

#ifdef SWWaterDeep
		  if (WaterDeepTaskFlag)
		  {
			  WaterDeepTaskFlag = 0;
			  vTaskResume(WaterDeepTaskHandle);
			  osDelay(2);
		  }
#endif // SWWaterDeep

#ifdef SWDisplayWords
		  if (DisplayTaskFlag)
		  {
			  DisplayTaskFlag=0;
			  vTaskResume(DisplayTaskHandle);osDelay(2);
		  }
#endif

#ifdef SWAttitudeControl
		  if (AttitudeTaskFlag)
		  {
			  AttitudeTaskFlag = 0;
			  vTaskResume(AttitudeTaskHandle);
			  osDelay(2);
		  }
#endif // SWAttitudeControl

#ifdef SWAutoMove
		  if (AutoMoveTaskFlag)
		  {
			  AutoMoveTaskFlag = 0;
			  vTaskResume(AutoMoveTaskHandle);
			  osDelay(2);
		  }
#endif // SWAutoMove

	  }
	  else
	  {
		  osDelay(1);
	  }
  }
  /* USER CODE END SWTask */
}

 /**
  * @brief  Period elapsed callback in non blocking mode
  * @note   This function is called  when TIM10 interrupt took place, inside
  * HAL_TIM_IRQHandler(). It makes a direct call to HAL_IncTick() to increment
  * a global variable "uwTick" used as application time base.
  * @param  htim : TIM handle
  * @retval None
  */
void HAL_TIM_PeriodElapsedCallback(TIM_HandleTypeDef *htim)
{
  if (htim->Instance == TIM10) {
    HAL_IncTick();
  }
}

void Error_Handler(void)
{
}

/************************ (C) COPYRIGHT STMicroelectronics *****END OF FILE****/
